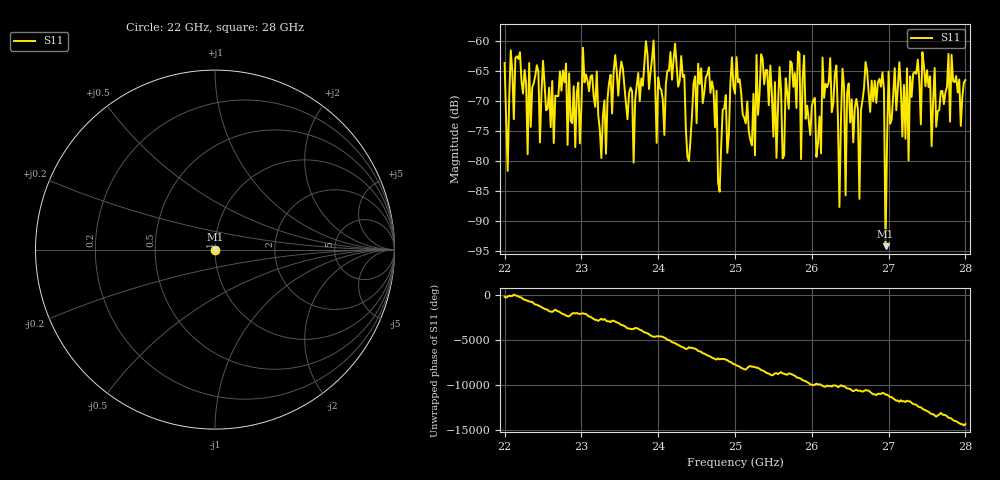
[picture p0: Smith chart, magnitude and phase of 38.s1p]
#  HZ  S  RI  R  50.00
! Rohde & Schwarz ZVA40 4Ports - Version 3.90 - 1145.1110k42 SN: 100403
! Date: 2023-10-04 09:24:30
! Measurement: S12
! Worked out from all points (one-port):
!   301 points, 22 GHz to 28 GHz, reference 50 ohm
!   lowest |S11| = -94.3 dB at 26.96 GHz (marker M1), VSWR 1.00, Z = 50 + j0.0019 ohm
!   |S11| at or under -10 dB: start of sweep to end of sweep
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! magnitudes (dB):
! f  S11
! 22 GHz  -63.7
! 22.04 GHz  -81.7
! 22.08 GHz  -61.6
! 22.3 GHz  -78.9
! 22.32 GHz  -63.7
! 22.46 GHz  -77.0
! 22.76 GHz  -64.9
! 22.92 GHz  -77.7
! 23.2 GHz  -65.1
! 23.26 GHz  -79.6
! 23.5 GHz  -65.5
! 23.68 GHz  -80.3
! 23.84 GHz  -60.0
! 23.94 GHz  -59.9
! 23.98 GHz  -77.0
! 24.26 GHz  -67.6
! 24.4 GHz  -80.1
! 25 GHz  -68.8
! 25.76 GHz  -67.7
! 26.5 GHz  -73.6
! 26.92 GHz  -65.2
! 26.96 GHz  -94.3
! 27.14 GHz  -63.6
! 27.24 GHz  -64.6
! 27.26 GHz  -80.0
! 27.44 GHz  -61.9
! 27.56 GHz  -77.6
! 28 GHz  -66.5
